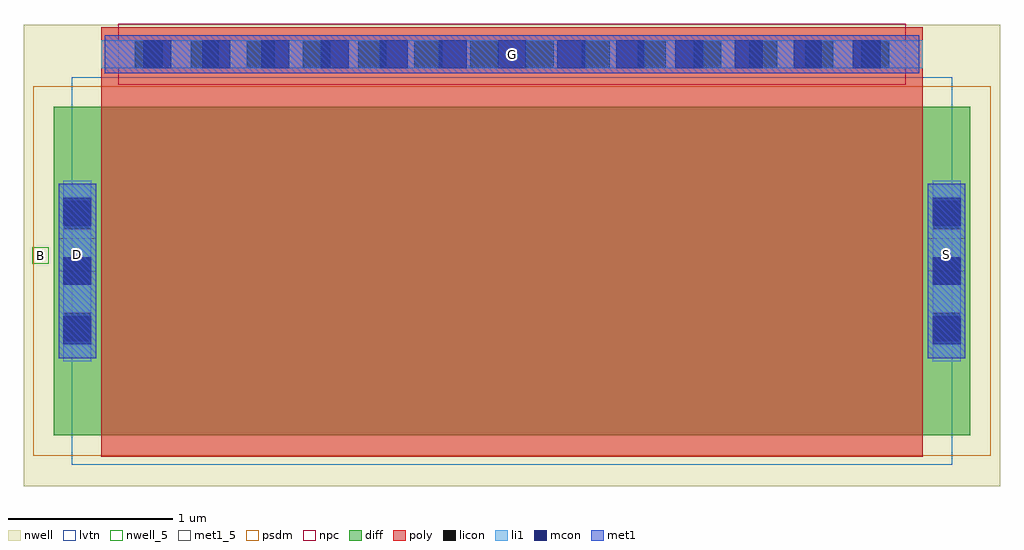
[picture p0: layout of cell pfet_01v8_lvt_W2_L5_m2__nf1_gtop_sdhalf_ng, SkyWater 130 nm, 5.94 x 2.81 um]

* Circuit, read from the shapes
.subckt pfet_01v8_lvt_W2_L5_m2__nf1_gtop_sdhalf_ng B D G S
XM1 S G D B sky130_fd_pr__pfet_01v8_lvt w=2 l=5
.ends

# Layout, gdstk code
import gdstk
lib = gdstk.Library(unit=1e-6, precision=1e-09)
def R(c, l, rs):  # rectangles x0, y0, x1, y1
    for r in rs: c.add(gdstk.rectangle(r[:2], r[2:], *l))
def A(c, l, x, y, w, h, nx, ny, dx, dy):  # array of equal rectangles
    R(c, l, [(x+i*dx, y+j*dy, x+i*dx+w, y+j*dy+h) for i in range(nx) for j in range(ny)])
nwell_5 = (64, 5)
nwell = (64, 20)
diff = (65, 20)
poly = (66, 20)
licon = (66, 44)
li1 = (67, 20)
mcon = (67, 44)
met1_5 = (68, 5)
met1 = (68, 20)
psdm = (94, 20)
npc = (95, 20)
lvtn = (125, 44)

sky130_fd_pr__pfet_01v8_ = lib.new_cell('sky130_fd_pr__pfet_01v8_lvt_TS7VC4')
R(sky130_fd_pr__pfet_01v8_, nwell, [(-2.97,-1.49,2.97,1.32)])
R(sky130_fd_pr__pfet_01v8_, diff, [(-2.79,-1.18,2.79,0.82)])
R(sky130_fd_pr__pfet_01v8_, poly, [(-2.5,-1.31,2.5,1.305)])
A(sky130_fd_pr__pfet_01v8_, licon, -2.73, -0.605, 0.17, 0.17, 1, 3, 0, 0.34)
A(sky130_fd_pr__pfet_01v8_, licon, 2.56, -0.605, 0.17, 0.17, 1, 3, 0, 0.34)
A(sky130_fd_pr__pfet_01v8_, licon, -2.295, 1.055, 0.17, 0.17, 14, 1, 0.34, 0)
R(sky130_fd_pr__pfet_01v8_, li1, [(-2.73,-0.73,-2.56,0.37), (2.56,-0.73,2.73,0.37), (-2.5,1.055,2.5,1.225)])
A(sky130_fd_pr__pfet_01v8_, mcon, -2.73, -0.625, 0.17, 0.17, 1, 3, 0, 0.36)
A(sky130_fd_pr__pfet_01v8_, mcon, 2.56, -0.625, 0.17, 0.17, 1, 3, 0, 0.36)
A(sky130_fd_pr__pfet_01v8_, mcon, -2.245, 1.055, 0.17, 0.17, 13, 1, 0.36, 0)
R(sky130_fd_pr__pfet_01v8_, met1, [(-2.76,-0.71,-2.53,0.35), (2.53,-0.71,2.76,0.35), (-2.48,1.025,2.48,1.255)])
R(sky130_fd_pr__pfet_01v8_, psdm, [(-2.915,-1.305,2.915,0.945)])
R(sky130_fd_pr__pfet_01v8_, npc, [(-2.395,0.955,2.395,1.325)])
R(sky130_fd_pr__pfet_01v8_, lvtn, [(-2.68,-1.36,2.68,1)])
sky130_fd_pr__pfet_01v8_.add(gdstk.Label('D', (-2.645,-0.18), layer=67, texttype=5))
sky130_fd_pr__pfet_01v8_.add(gdstk.Label('S', (2.645,-0.18), layer=67, texttype=5))
sky130_fd_pr__pfet_01v8_.add(gdstk.Label('G', (0,1.14), layer=67, texttype=5))

pfet_01v8_lvt_w2_l5_m2__ = lib.new_cell('pfet_01v8_lvt_W2_L5_m2__nf1_gtop_sdhalf_ng')
R(pfet_01v8_lvt_w2_l5_m2__, nwell_5, [(0.05,1.355,0.15,1.455)])
R(pfet_01v8_lvt_w2_l5_m2__, nwell, [(0.05,1.355,0.15,1.455)])
R(pfet_01v8_lvt_w2_l5_m2__, met1_5, [(0.21,1.31,0.44,1.51), (5.5,1.31,5.73,1.51), (0.49,2.515,5.45,2.745)])
R(pfet_01v8_lvt_w2_l5_m2__, met1, [(0.21,1.31,0.44,1.51), (5.5,1.31,5.73,1.51), (0.49,2.515,5.45,2.745)])
pfet_01v8_lvt_w2_l5_m2__.add(gdstk.Reference(sky130_fd_pr__pfet_01v8_, (2.97,1.49)))
pfet_01v8_lvt_w2_l5_m2__.add(gdstk.Label('D', (0.325,1.41), layer=68, texttype=5))
pfet_01v8_lvt_w2_l5_m2__.add(gdstk.Label('S', (5.615,1.41), layer=68, texttype=5))
pfet_01v8_lvt_w2_l5_m2__.add(gdstk.Label('G', (2.97,2.63), layer=68, texttype=5))
pfet_01v8_lvt_w2_l5_m2__.add(gdstk.Label('B', (0.1,1.405), layer=64, texttype=5))

lib.write_gds('pfet_01v8_lvt_W2_L5_m2__nf1_gtop_sdhalf_ng.gds')
